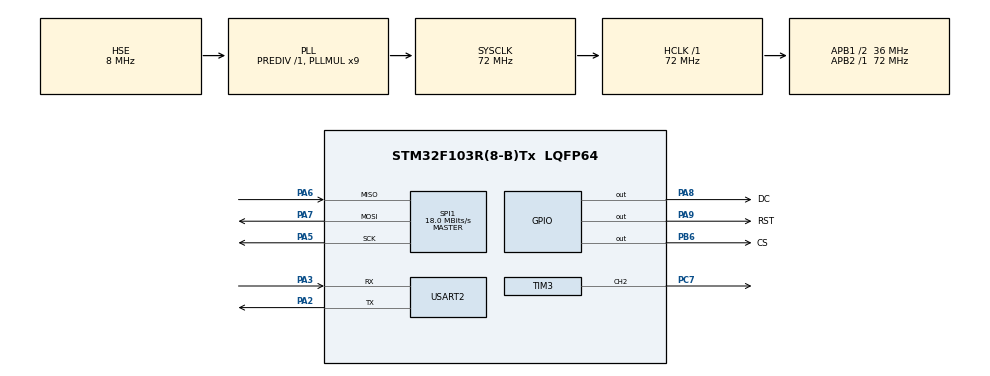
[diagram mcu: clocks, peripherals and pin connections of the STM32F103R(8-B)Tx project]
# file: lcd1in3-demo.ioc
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Mcu.Family=STM32F1
Mcu.Name=STM32F103R(8-B)Tx
Mcu.Package=LQFP64
NVIC.PriorityGroup=NVIC_PRIORITYGROUP_4
PA13.Mode=Serial_Wire
PA13.Signal=SYS_JTMS-SWDIO
PA14.Mode=Serial_Wire
PA14.Signal=SYS_JTCK-SWCLK
PA2.Mode=Asynchronous
PA2.Signal=USART2_TX
PA3.Mode=Asynchronous
PA3.Signal=USART2_RX
PA5.Mode=Full_Duplex_Master
PA5.Signal=SPI1_SCK
PA6.Mode=Full_Duplex_Master
PA6.Signal=SPI1_MISO
PA7.Mode=Full_Duplex_Master
PA7.Signal=SPI1_MOSI
PA8.GPIO_Label=DC
PA8.Signal=GPIO_Output
PA9.GPIO_Label=RST
PA9.Signal=GPIO_Output
PB6.GPIO_Label=CS
PB6.Signal=GPIO_Output
PC7.Signal=S_TIM3_CH2
PD0-OSC_IN.Mode=HSE-External-Oscillator
PD0-OSC_IN.Signal=RCC_OSC_IN
PD1-OSC_OUT.Mode=HSE-External-Oscillator
PD1-OSC_OUT.Signal=RCC_OSC_OUT
ProjectManager.HeapSize=0x200
ProjectManager.StackSize=0x400
ProjectManager.TargetToolchain=MDK-ARM V5
RCC.AHBFreq_Value=72000000
RCC.APB1CLKDivider=RCC_HCLK_DIV2
RCC.APB1Freq_Value=36000000
RCC.APB1TimFreq_Value=72000000
RCC.APB2Freq_Value=72000000
RCC.APB2TimFreq_Value=72000000
RCC.HCLKFreq_Value=72000000
RCC.PLLMUL=RCC_PLL_MUL9
RCC.PLLSourceVirtual=RCC_PLLSOURCE_HSE
RCC.SYSCLKFreq_VALUE=72000000
RCC.SYSCLKSource=RCC_SYSCLKSOURCE_PLLCLK
RCC.USBFreq_Value=72000000
SH.S_TIM3_CH2.0=TIM3_CH2,PWM Generation2 CH2
SPI1.BaudRatePrescaler=SPI_BAUDRATEPRESCALER_4
SPI1.CLKPhase=SPI_PHASE_1EDGE
SPI1.CLKPolarity=SPI_POLARITY_LOW
SPI1.CalculateBaudRate=18.0 MBits/s
SPI1.Direction=SPI_DIRECTION_2LINES
SPI1.Mode=SPI_MODE_MASTER
SPI1.VirtualType=VM_MASTER
TIM3.AutoReloadPreload=TIM_AUTORELOAD_PRELOAD_ENABLE
TIM3.Channel-PWM\ Generation2\ CH2=TIM_CHANNEL_2
TIM3.Period=1000-1
TIM3.Prescaler=300-1
TIM3.TIM_MasterSlaveMode=TIM_MASTERSLAVEMODE_DISABLE
USART2.VirtualMode=VM_ASYNC
board=lcd1in3-demo

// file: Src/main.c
/**
  ******************************************************************************
  * File Name          : main.c
  * Description        : Main program body
  ******************************************************************************
  ** This notice applies to any and all portions of this file
  * that are not between comment pairs USER CODE BEGIN and
  * USER CODE END. Other portions of this file, whether
  * inserted by the user or by software development tools
  * are owned by their respective copyright owners.
  *
  * COPYRIGHT(c) 2018 STMicroelectronics
  *
  * Redistribution and use in source and binary forms, with or without modification,
  * are permitted provided that the following conditions are met:
  *   1. Redistributions of source code must retain the above copyright notice,
  *      this list of conditions and the following disclaimer.
  *   2. Redistributions in binary form must reproduce the above copyright notice,
  *      this list of conditions and the following disclaimer in the documentation
  *      and/or other materials provided with the distribution.
  *   3. Neither the name of STMicroelectronics nor the names of its contributors
  *      may be used to endorse or promote products derived from this software
  *      without specific prior written permission.
  *
  * THIS SOFTWARE IS PROVIDED BY THE COPYRIGHT HOLDERS AND CONTRIBUTORS "AS IS"
  * AND ANY EXPRESS OR IMPLIED WARRANTIES, INCLUDING, BUT NOT LIMITED TO, THE
  * IMPLIED WARRANTIES OF MERCHANTABILITY AND FITNESS FOR A PARTICULAR PURPOSE ARE
  * DISCLAIMED. IN NO EVENT SHALL THE COPYRIGHT HOLDER OR CONTRIBUTORS BE LIABLE
  * FOR ANY DIRECT, INDIRECT, INCIDENTAL, SPECIAL, EXEMPLARY, OR CONSEQUENTIAL
  * DAMAGES (INCLUDING, BUT NOT LIMITED TO, PROCUREMENT OF SUBSTITUTE GOODS OR
  * SERVICES; LOSS OF USE, DATA, OR PROFITS; OR BUSINESS INTERRUPTION) HOWEVER
  * CAUSED AND ON ANY THEORY OF LIABILITY, WHETHER IN CONTRACT, STRICT LIABILITY,
  * OR TORT (INCLUDING NEGLIGENCE OR OTHERWISE) ARISING IN ANY WAY OUT OF THE USE
  * OF THIS SOFTWARE, EVEN IF ADVISED OF THE POSSIBILITY OF SUCH DAMAGE.
  *
  ******************************************************************************
  */
#include "main.h"
#include "stm32f1xx_hal.h"
#include "spi.h"
#include "tim.h"
#include "usart.h"
#include "gpio.h"

/* USER CODE BEGIN Includes */

#include "LCD_Driver.h"
#include "GUI_Paint.h"
#include "fonts.h"
#include "image.h"

/* USER CODE END Includes */

/* USER CODE BEGIN PV */
/* Private variables ---------------------------------------------------------*/

/* USER CODE END PV */

void SystemClock_Config(void);

/* USER CODE BEGIN PFP */
/* Private function prototypes -----------------------------------------------*/

/* USER CODE END PFP */

int main(void)
{

  /* MCU Configuration----------------------------------------------------------*/

  /* Reset of all peripherals, Initializes the Flash interface and the Systick. */
  HAL_Init();

  /* Configure the system clock */
  SystemClock_Config();

  /* Initialize all configured peripherals */
  MX_GPIO_Init();
  MX_SPI1_Init();
  MX_USART2_UART_Init();
  MX_TIM3_Init();

  /* USER CODE BEGIN 2 */
	HAL_TIM_PWM_Start(&htim3, TIM_CHANNEL_2);
	LCD_SetBackLight(500);
	LCD_Init();
	LCD_Clear(WHITE);

	Paint_NewImage(LCD_WIDTH, LCD_HEIGHT, 0, WHITE);
	Paint_Clear(WHITE);
	Paint_SetRotate(180);
	Paint_DrawString_EN(30, 10, "123", &Font24, YELLOW, RED);
	Paint_DrawString_EN(30, 34, "ABC", &Font24, BLUE, CYAN);
	Paint_DrawString_CN(50,180, "微雪电子",  &Font24CN, WHITE, RED);
	Paint_DrawRectangle(125, 10, 225, 58, RED,DRAW_FILL_EMPTY, DOT_PIXEL_2X2);
	Paint_DrawLine(125, 10, 225, 58, MAGENTA, LINE_STYLE_SOLID, DOT_PIXEL_2X2);
	Paint_DrawLine(225, 10, 125, 58, MAGENTA, LINE_STYLE_SOLID, DOT_PIXEL_2X2);

	Paint_DrawCircle(150,100, 25, BLUE,  DRAW_FILL_EMPTY, DOT_PIXEL_2X2);
	Paint_DrawCircle(180,100, 25, BLACK,    DRAW_FILL_EMPTY, DOT_PIXEL_2X2);
	Paint_DrawCircle(210,100, 25, RED, DRAW_FILL_EMPTY, DOT_PIXEL_2X2);
	Paint_DrawCircle(165,125, 25, YELLOW,   DRAW_FILL_EMPTY, DOT_PIXEL_2X2);
	Paint_DrawCircle(195,125, 25, GREEN,   DRAW_FILL_EMPTY, DOT_PIXEL_2X2);

	Paint_DrawImage(gImage_100X100, 10, 75,100, 100);

  /* USER CODE END 2 */

  /* Infinite loop */
  while (1)
  {

  }

}

/** System Clock Configuration
*/
void SystemClock_Config(void)
{

  RCC_OscInitTypeDef RCC_OscInitStruct;
  RCC_ClkInitTypeDef RCC_ClkInitStruct;

    /**Initializes the CPU, AHB and APB busses clocks
    */
  RCC_OscInitStruct.OscillatorType = RCC_OSCILLATORTYPE_HSE;
  RCC_OscInitStruct.HSEState = RCC_HSE_ON;
  RCC_OscInitStruct.HSEPredivValue = RCC_HSE_PREDIV_DIV1;
  RCC_OscInitStruct.HSIState = RCC_HSI_ON;
  RCC_OscInitStruct.PLL.PLLState = RCC_PLL_ON;
  RCC_OscInitStruct.PLL.PLLSource = RCC_PLLSOURCE_HSE;
  RCC_OscInitStruct.PLL.PLLMUL = RCC_PLL_MUL9;
  if (HAL_RCC_OscConfig(&RCC_OscInitStruct) != HAL_OK)
  {
    _Error_Handler(__FILE__, __LINE__);
  }

    /**Initializes the CPU, AHB and APB busses clocks
    */
  RCC_ClkInitStruct.ClockType = RCC_CLOCKTYPE_HCLK|RCC_CLOCKTYPE_SYSCLK
                              |RCC_CLOCKTYPE_PCLK1|RCC_CLOCKTYPE_PCLK2;
  RCC_ClkInitStruct.SYSCLKSource = RCC_SYSCLKSOURCE_PLLCLK;
  RCC_ClkInitStruct.AHBCLKDivider = RCC_SYSCLK_DIV1;
  RCC_ClkInitStruct.APB1CLKDivider = RCC_HCLK_DIV2;
  RCC_ClkInitStruct.APB2CLKDivider = RCC_HCLK_DIV1;

  if (HAL_RCC_ClockConfig(&RCC_ClkInitStruct, FLASH_LATENCY_2) != HAL_OK)
  {
    _Error_Handler(__FILE__, __LINE__);
  }

    /**Configure the Systick interrupt time
    */
  HAL_SYSTICK_Config(HAL_RCC_GetHCLKFreq()/1000);

    /**Configure the Systick
    */
  HAL_SYSTICK_CLKSourceConfig(SYSTICK_CLKSOURCE_HCLK);

  /* SysTick_IRQn interrupt configuration */
  HAL_NVIC_SetPriority(SysTick_IRQn, 0, 0);
}

void _Error_Handler(char * file, int line)
{
  while(1)
  {
  }
}

/************************ (C) COPYRIGHT STMicroelectronics *****END OF FILE****/
